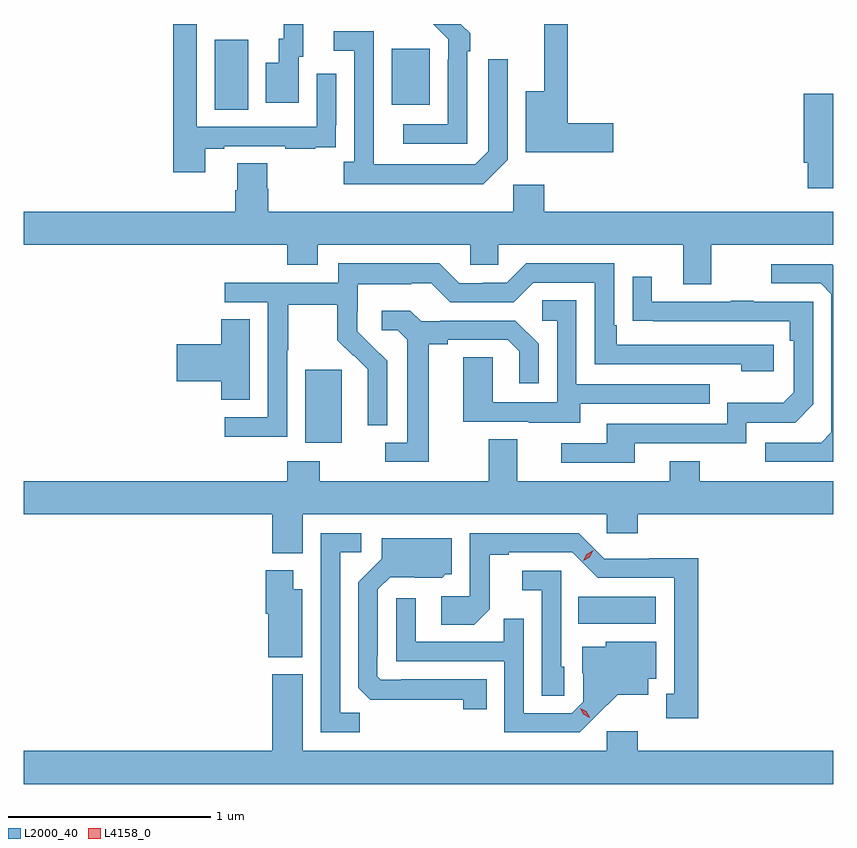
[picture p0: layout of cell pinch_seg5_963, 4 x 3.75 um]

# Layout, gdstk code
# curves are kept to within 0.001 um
import gdstk
lib = gdstk.Library(unit=1e-6, precision=1e-09)
def R(c, l, rs):  # rectangles x0, y0, x1, y1
    for r in rs: c.add(gdstk.rectangle(r[:2], r[2:], *l))
def P(c, l, *ps):  # polygons
    for p in ps: c.add(gdstk.Polygon(p, *l))
L2000_40 = (2000, 40)
L4158_0 = (4158, 0)

pinch_seg5_963 = lib.new_cell('pinch_seg5_963')
R(pinch_seg5_963, L2000_40, [(744.76,909.5,745.141,909.634), (743.411,910.394,743.59,910.755), (742.964,912.04,743.128,912.384), (743.837,912.065,744.025,912.34)])
P(pinch_seg5_963, L2000_40, [(744.931,911.972),(744.707,911.972),(744.707,912.463),(744.59,912.463),(744.59,912.13),(744.5,912.13),(744.5,911.83),(744.931,911.83)],
  [(744.21,912.329),(744.225,912.329),(744.225,912.417),(744.179,912.463),(744.042,912.463),(744.117,912.387),(744.117,912.287),(744.114,912.287),(744.114,911.967),(743.895,911.967),(743.895,911.871),(744.21,911.871)],
  [(743.377,912.3),(743.401,912.3),(743.401,912.463),(743.304,912.463),(743.304,912.39),(743.279,912.39),(743.279,912.271),(743.216,912.271),(743.216,912.075),(743.377,912.075)],
  [(742.915,911.847),(743.011,911.847),(743.011,911.859),(743.311,911.859),(743.311,911.847),(743.459,911.847),(743.459,911.853),(743.561,911.853),(743.561,911.962),(743.562,911.962),(743.562,912.217),(743.466,912.217),(743.466,911.955),(742.875,911.955),(742.875,912.463),(742.759,912.463),(742.759,911.73),(742.915,911.73)],
  [(744.411,911.793),(744.411,912.289),(744.315,912.289),(744.315,911.835),(744.249,911.769),(743.749,911.769),(743.748,912.426),(743.55,912.426),(743.55,912.33),(743.652,912.33),(743.652,911.782),(743.601,911.782),(743.601,911.672),(744.29,911.672)],
  [(746.019,912.118),(745.874,912.118),(745.874,911.778),(745.892,911.778),(745.892,911.651),(746.019,911.651)],
  [(745.417,911.372),(746.019,911.372),(746.019,911.536),(744.59,911.536),(744.59,911.668),(744.438,911.668),(744.438,911.536),(743.228,911.536),(743.228,911.649),(743.223,911.649),(743.223,911.774),(743.075,911.774),(743.075,911.642),(743.063,911.642),(743.063,911.536),(742.019,911.536),(742.019,911.372),(743.321,911.372),(743.321,911.273),(743.473,911.273),(743.473,911.372),(744.225,911.372),(744.225,911.274),(744.363,911.274),(744.363,911.372),(745.277,911.372),(745.277,911.178),(745.417,911.178)],
  [(743.322,910.852),(743.325,910.852),(743.325,911.076),(743.569,911.076),(743.569,910.901),(743.646,910.824),(743.649,910.827),(743.72,910.757),(743.72,910.634),(743.718,910.634),(743.718,910.48),(743.814,910.48),(743.814,910.798),(743.668,910.946),(743.668,911.043),(743.67,911.043),(743.67,911.177),(743.933,911.177),(743.933,911.181),(744.033,911.181),(744.126,911.088),(744.441,911.088),(744.537,911.184),(744.84,911.184),(744.84,910.782),(745.565,910.782),(745.565,910.748),(745.726,910.748),(745.726,910.878),(744.949,910.878),(744.949,910.975),(744.936,910.975),(744.936,911.28),(744.501,911.28),(744.405,911.184),(744.287,911.184),(744.287,911.181),(744.171,911.181),(744.071,911.281),(743.574,911.281),(743.574,911.184),(743.013,911.184),(743.013,911.088),(743.226,911.088),(743.226,910.521),(743.013,910.521),(743.013,910.423),(743.322,910.423)],
  [(746.019,911.271),(746.013,911.277),(745.713,911.277),(745.713,911.181),(745.956,911.181),(746.01,911.127),(746.01,910.446),(745.959,910.395),(745.683,910.395),(745.683,910.299),(746.019,910.299)],
  [(745.039,910.392),(745.59,910.392),(745.59,910.494),(745.83,910.494),(745.92,910.584),(745.92,911.091),(745.625,911.091),(745.625,911.096),(745.513,911.096),(745.513,911.091),(745.123,911.091),(745.123,911.215),(745.027,911.215),(745.027,910.996),(745.804,910.995),(745.804,910.898),(745.824,910.898),(745.824,910.644),(745.771,910.591),(745.494,910.591),(745.494,910.488),(744.899,910.488),(744.899,910.392),(744.675,910.392),(744.675,910.296),(745.039,910.296)],
  [(744.769,910.587),(745.409,910.587),(745.409,910.683),(744.75,910.683),(744.75,911.099),(744.582,911.099),(744.582,910.998),(744.654,910.998),(744.654,910.593),(744.336,910.593),(744.336,910.817),(744.191,910.817),(744.191,910.497),(744.515,910.497),(744.515,910.493),(744.769,910.493)],
  [(744.019,910.88),(744.115,910.88),(744.115,910.902),(744.41,910.902),(744.467,910.845),(744.467,910.689),(744.564,910.689),(744.564,910.882),(744.448,910.998),(744.076,910.998),(744.076,910.995),(743.982,910.995),(743.93,911.047),(743.787,911.047),(743.787,910.95),(743.868,910.95),(743.915,910.903),(743.915,910.395),(743.805,910.395),(743.805,910.299),(744.019,910.299)],
  [(743.137,911.003),(742.994,911.003),(742.994,910.88),(742.776,910.88),(742.776,910.697),(742.994,910.697),(742.994,910.606),(743.137,910.606)],
  [(743.398,910.04),(744.9,910.04),(744.9,909.947),(745.052,909.947),(745.052,910.04),(746.019,910.04),(746.019,910.204),(745.359,910.204),(745.359,910.303),(745.211,910.303),(745.211,910.204),(744.457,910.204),(744.457,910.412),(744.317,910.412),(744.317,910.204),(743.481,910.204),(743.481,910.303),(743.321,910.303),(743.321,910.204),(742.019,910.204),(742.019,910.04),(743.246,910.04),(743.246,909.848),(743.398,909.848)],
  [(743.679,909.059),(743.583,909.059),(743.583,909.852),(743.686,909.852),(743.686,909.948),(743.487,909.948),(743.487,908.964),(743.679,908.964)],
  [(745.351,909.824),(745.11,909.824),(745.11,909.822),(744.888,909.822),(744.762,909.948),(744.222,909.948),(744.222,909.636),(744.081,909.636),(744.081,909.496),(744.245,909.496),(744.321,909.572),(744.321,909.84),(744.415,909.84),(744.415,909.852),(744.729,909.852),(744.855,909.726),(745.232,909.726),(745.232,909.153),(745.193,909.153),(745.193,909.033),(745.351,909.033)],
  [(744.308,909.225),(743.884,909.225),(743.884,909.222),(743.784,909.222),(743.766,909.24),(743.766,909.34),(743.769,909.34),(743.769,909.669),(743.829,909.729),(744.086,909.728),(744.102,909.744),(744.133,909.744),(744.133,909.922),(743.789,909.922),(743.789,909.822),(743.673,909.706),(743.673,909.184),(743.732,909.125),(744.19,909.124),(744.19,909.078),(744.308,909.078)],
  [(743.395,909.67),(743.35,909.67),(743.35,909.763),(743.216,909.763),(743.216,909.549),(743.228,909.549),(743.228,909.335),(743.395,909.335)],
  [(744.69,909.288),(744.675,909.288),(744.675,909.762),(744.483,909.762),(744.483,909.665),(744.579,909.665),(744.579,909.145),(744.69,909.145)],
  [(744.85,909.047),(744.953,909.149),(745.105,909.149),(745.105,909.228),(745.144,909.228),(745.144,909.412),(744.894,909.412),(744.894,909.385),(744.779,909.385),(744.779,909.256),(744.783,909.256),(744.783,909.114),(744.726,909.057),(744.489,909.057),(744.489,909.524),(744.391,909.524),(744.391,909.411),(743.955,909.411),(743.955,909.625),(743.859,909.625),(743.859,909.315),(744.393,909.315),(744.393,908.964),(744.766,908.964)],
  [(746.019,908.872),(745.052,908.872),(745.052,908.968),(744.9,908.968),(744.9,908.872),(743.398,908.872),(743.398,909.25),(743.246,909.25),(743.246,908.872),(742.019,908.872),(742.019,908.708),(746.019,908.708)])
P(pinch_seg5_963, L4158_0, [(744.784,909.81),(744.784,909.811),(744.802,909.843),(744.833,909.862),(744.834,909.862),(744.834,909.862),(744.816,909.829),(744.784,909.81)],
  [(744.815,909.036),(744.784,909.052),(744.768,909.082),(744.768,909.082),(744.768,909.082),(744.798,909.067),(744.815,909.037),(744.815,909.036)])

lib.write_gds('pinch_seg5_963.gds')
